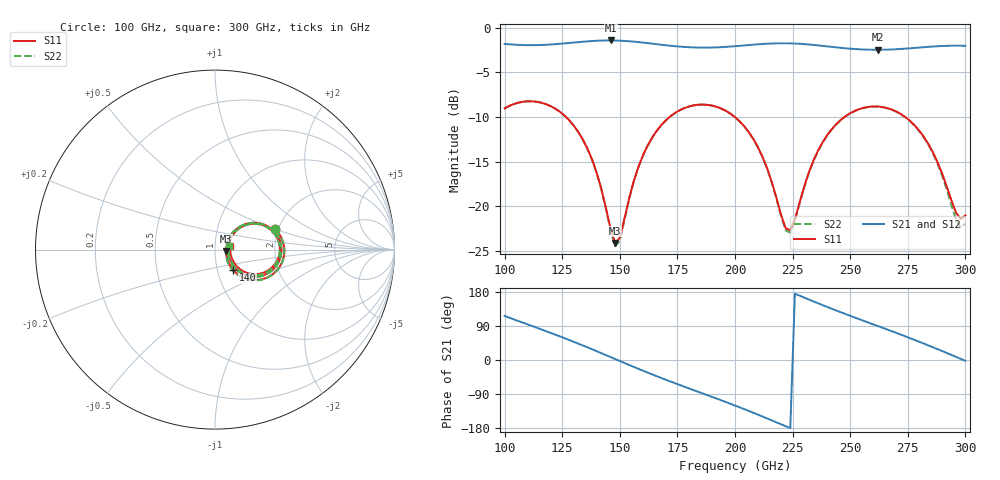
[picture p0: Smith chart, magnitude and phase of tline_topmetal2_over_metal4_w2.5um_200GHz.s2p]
#  GHZ S DB R 50
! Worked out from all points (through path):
!   101 points, 100 GHz to 300 GHz, reference 50 ohm
!   highest |S21| = -1.44 dB at 146 GHz (marker M1); lowest = -2.5 dB at 262 GHz (marker M2)
!   group delay of S21, straight-line fit = 6.66 ps
!   lowest |S11| = -24.1 dB at 148 GHz (marker M3), VSWR 1.13, Z = 56.5 - j1.08 ohm
!   |S11| at or under -10 dB: 126.6 GHz to 171.7 GHz (45.11 GHz wide, 30.3 % of centre); 199.9 GHz to 247.6 GHz (47.72 GHz wide, 21.3 % of centre); 273.8 GHz to end of sweep
!   |S22| runs from -24.5 to -8.3 dB; largest |S21 - S12| = 9.7e-14
!   S11 on the Smith chart (normalised r, x): 100 GHz: 1.92, +0.50; 140 GHz: 1.19, -0.28; 300 GHz: 1.19, +0.05
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100  -9.05 18.8  -1.82 116.2  -1.82 116.2  -9.05 18.6
118  -8.58 -15.0  -1.92 76.0  -1.92 76.0  -8.58 -15.5
134  -12.56 -43.2  -1.58 38.3  -1.58 38.3  -12.57 -44.1
140  -16.29 -48.5  -1.47 23.1  -1.47 23.1  -16.33 -49.6
146  -22.54 -30.7  -1.44 7.7  -1.44 7.7  -22.76 -32.3
148  -24.13 -8.8  -1.45 2.5  -1.45 2.5  -24.48 -9.7
150  -23.53 16.6  -1.46 -2.7  -1.46 -2.7  -23.86 16.9
158  -15.65 43.8  -1.62 -23.1  -1.62 -23.1  -15.71 44.2
168  -10.92 31.3  -1.92 -47.4  -1.92 -47.4  -10.94 31.3
184  -8.64 2.8  -2.23 -83.9  -2.23 -83.9  -8.64 2.5
200  -10.02 -25.8  -2.08 -120.2  -2.08 -120.2  -10.03 -26.4
212  -14.51 -42.2  -1.83 -149.3  -1.83 -149.3  -14.54 -43.2
222  -22.48 -13.4  -1.76 -174.8  -1.76 -174.8  -22.72 -14.6
224  -22.70 7.0  -1.77 -179.9  -1.77 -179.9  -22.97 6.6
234  -14.93 41.3  -1.94 154.7  -1.94 154.7  -14.98 41.3
248  -9.92 22.7  -2.32 121.2  -2.32 121.2  -9.94 22.3
262  -8.84 -1.6  -2.48 89.6  -2.48 89.6  -8.86 -2.4
268  -9.18 -12.0  -2.45 76.1  -2.45 76.1  -9.20 -13.1
282  -12.25 -33.8  -2.19 43.2  -2.19 43.2  -12.32 -35.8
288  -15.13 -38.1  -2.09 28.3  -2.09 28.3  -15.30 -40.9
296  -20.75 -17.4  -2.02 8.1  -2.02 8.1  -21.55 -20.5
300  -21.03 13.7  -2.04 -2.2  -2.04 -2.2  -21.95 14.9
